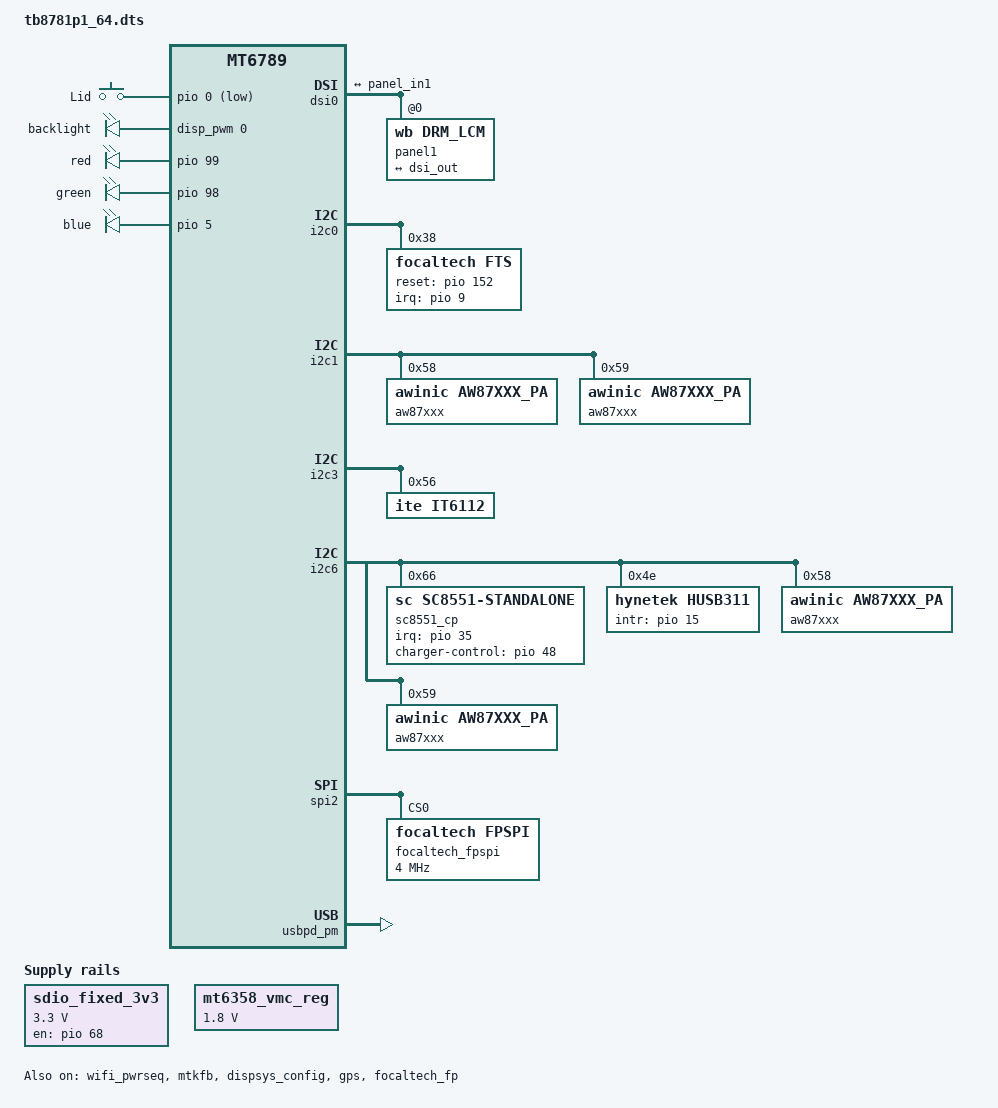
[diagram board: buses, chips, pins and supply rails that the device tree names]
// SPDX-License-Identifier: (GPL-2.0 OR MIT)
/*
 * Copyright (C) 2021 MediaTek Inc.
 */
/dts-v1/;
/plugin/;
#include <dt-bindings/interrupt-controller/arm-gic.h>
#include <dt-bindings/interrupt-controller/irq.h>
#include <dt-bindings/pinctrl/mt6789-pinfunc.h>
#include "mediatek/M101TBR200/cust_mt6789_camera.dtsi"
#include <dt-bindings/gpio/gpio.h>
#include <dt-bindings/input/input.h>
#include <dt-bindings/iio/adc/mediatek,mt6375_adc.h>
#include <dt-bindings/iio/mt635x-auxadc.h>
#include "mediatek/M101TBR200/mt6789_battery_prop.dtsi"
#include <dt-bindings/phy/phy.h>
#include "mediatek/lcd/1_wb_lcd_panel_list.dtsi"

&odm {
	sdio_fixed_3v3: fixedregulator@0 {
		compatible = "regulator-fixed";
		regulator-name = "sdio_fixed_3v3";
		regulator-min-microvolt = <3300000>;
		regulator-max-microvolt = <3300000>;
		enable-active-high;
		gpio = <&pio 68 0>;
	};
};

&chosen {
};

&android {
	hardware = "mt8781";
};

&mtk_leds {
	compatible = "mediatek,pwm-leds";

	backlight {
		led_mode = <5>;
		gate_enable = <1>;
        	pwms = <&disp_pwm 0 39385>;
		pwm_config = <0 1 0 0 0>;
	};
};

&wifi_pwrseq {
	status = "okay";
	pinctrl-names = "default";
	pinctrl-0 = <&wifi_pins_pwrseq>;
	reset-gpios = <&pio 43 1>;			//reset pin GPIO number need modify
	post-power-on-delay-ms = <200>;
};

&mmc1 {
    status = "disabled";
	compatible = "mediatek,mt6779-mmc";
	pinctrl-names = "default", "state_uhs", "state_eint", "state_dat1";
    pinctrl-0 = <&mmc1_pins_default>;
    pinctrl-1 = <&mmc1_pins_uhs>;
    pinctrl-2 = <&mmc1_pins_eint>;
    pinctrl-3 = <&mmc1_pins_dat1>;
    eint-gpios = <&pio 74 0>;
    bus-width = <4>;
    max-frequency = <200000000>;
    cap-sd-highspeed;
    //sd-uhs-sdr50;
    //sd-uhs-sdr104;
    cap-sdio-irq;
    cap-sdio-async-int;
    no-sd;
    keep-power-in-suspend;
    enable-sdio-wakeup;
    non-removable;
    vmmc-supply = <&sdio_fixed_3v3>;
    vqmmc-supply = <&mt6358_vmc_reg>;
    mmc-pwrseq = <&wifi_pwrseq>;
	dvfsrc-vcore-supply = <&dvfsrc_vcore>;
	max-vcore-volt = <725000>;
};

&mt6358_vmc_reg {
	regulator-min-microvolt = <1800000>;
	regulator-max-microvolt = <1800000>;
	regulator-always-on;
};

&pio {
	mtkfb_pins_lcd_bias_enp1: lcd_bias_enp1_gpio {
		pins_cmd_dat {
			pinmux = <PINMUX_GPIO36__FUNC_GPIO36>;
			slew-rate = <1>;
			output-high;
		};
	};

	mtkfb_pins_lcd_bias_enp0: lcd_bias_enp0_gpio {
		pins_cmd_dat {
			pinmux = <PINMUX_GPIO36__FUNC_GPIO36>;
			slew-rate = <1>;
			output-low;
		};
	};

	mtkfb_pins_lcd_bias_enn1: lcd_bias_enn1_gpio {
		pins_cmd_dat {
			pinmux = <PINMUX_GPIO46__FUNC_GPIO46>;
			slew-rate = <1>;
			output-high;
		};
	};

	mtkfb_pins_lcd_bias_enn0: lcd_bias_enn0_gpio {
		pins_cmd_dat {
			pinmux = <PINMUX_GPIO46__FUNC_GPIO46>;
			slew-rate = <1>;
			output-low;
		};
	};

	mtkfb_pins_lcm_led_en1: lcm_led_en1_gpio {
		pins_cmd_dat {
			pinmux = <PINMUX_GPIO95__FUNC_GPIO95>;
			slew-rate = <1>;
			output-high;
		};
	};

	mtkfb_pins_lcm_led_en0: lcm_led_en0_gpio {
		pins_cmd_dat {
			pinmux = <PINMUX_GPIO95__FUNC_GPIO95>;
			slew-rate = <1>;
			output-low;
		};
	};

	mtkfb_pins_lcm_rst_out1_gpio: lcm_rst_out1_gpio {
		pins_cmd_dat {
			pinmux = <PINMUX_GPIO85__FUNC_GPIO85>;
			slew-rate = <1>;
			output-high;
		};
	};

	mtkfb_pins_lcm_rst_out0_gpio: lcm_rst_out0_gpio {
		pins_cmd_dat {
			pinmux = <PINMUX_GPIO85__FUNC_GPIO85>;
			slew-rate = <1>;
			output-low;
		};
	};
	mtkfb_pins_lcm_dsi_te: lcm_dsi_te {
		pins_cmd_dat {
			pinmux = <PINMUX_GPIO83__FUNC_DSI_TE>;
		};
	};
	mtkfb_pins_lcd_pwr_1v8_en: lcd_pwr_1v8_en_gpio {
		pins_cmd_dat {
			pinmux = <PINMUX_GPIO52__FUNC_GPIO52>;
		};
	};
	mtkfb_pins_lcd_pwr_3v3_en: lcd_pwr_3v3_en_gpio {
		/*pins_cmd_dat {
			pinmux = <PINMUX_GPIO51__FUNC_GPIO51>;
		};*/
	};    

	mtkfb_pins_tp_rst_gpio: tp_rst_gpio {
		pins_cmd_dat {
			pinmux = <PINMUX_GPIO152__FUNC_GPIO152>;
		};
	};    
};

&mtkfb {
	pinctrl-names = "lcd_bias_enp1_gpio", "lcd_bias_enp0_gpio",
		"lcd_bias_enn1_gpio", "lcd_bias_enn0_gpio",
        	"lcm_led_en1_gpio", "lcm_led_en0_gpio",
		"lcm_rst_out1_gpio", "lcm_rst_out0_gpio",
		"mode_te_te","lcd_pwr_1v8_en_gpio","lcd_pwr_3v3_en_gpio",
        	"tp_rst_gpio";
	pinctrl-0 = <&mtkfb_pins_lcd_bias_enp1>;
	pinctrl-1 = <&mtkfb_pins_lcd_bias_enp0>;
	pinctrl-2 = <&mtkfb_pins_lcd_bias_enn1>;
	pinctrl-3 = <&mtkfb_pins_lcd_bias_enn0>;        
	pinctrl-4 = <&mtkfb_pins_lcm_led_en1>;
	pinctrl-5 = <&mtkfb_pins_lcm_led_en0>;
	pinctrl-6 = <&mtkfb_pins_lcm_rst_out1_gpio>;
	pinctrl-7 = <&mtkfb_pins_lcm_rst_out0_gpio>;
	pinctrl-8 = <&mtkfb_pins_lcm_dsi_te>;
	pinctrl-9 = <&mtkfb_pins_lcd_pwr_1v8_en>;
	pinctrl-10 = <&mtkfb_pins_lcd_pwr_3v3_en>;
	pinctrl-11 = <&mtkfb_pins_tp_rst_gpio>;
	status = "okay";
};

&dispsys_config {
	pinctrl-names =
		"lcm_rst_out1_gpio", "lcm_rst_out0_gpio",
		"mode_te_te";
	pinctrl-0 = <&mtkfb_pins_lcm_rst_out1_gpio>;
	pinctrl-1 = <&mtkfb_pins_lcm_rst_out0_gpio>;
	pinctrl-2 = <&mtkfb_pins_lcm_dsi_te>;
	status = "okay";
};

&dsi0 {
	status = "okay";
	#address-cells = <1>;
	#size-cells = <0>;
	panel1@0 {
		compatible = "wb,drm_lcm";
		reg = <0>;
		pinctrl-names = "default";
		//rotation = <90>;
		port {
			panel_in1: endpoint {
				remote-endpoint = <&dsi_out>;
			};
		};
	};
	
	ports {
		port {
			dsi_out: endpoint {
				remote-endpoint = <&panel_in1>;
			};
		};
	};
};

&odm {
	gpio_keys: gpio-keys{
		compatible = "gpio-keys";

		lid {
			label = "Lid";
			gpios = <&pio 0 GPIO_ACTIVE_LOW>;
			linux,code = <SW_LID>;
			linux,input-type = <EV_SW>;
			gpio-key,wakeup;
		};
	};
};

/* GPS GPIO standardization start */
&pio {
	gps_pins_default: gps_default {
	};
	gps_l1_lna_pins_ol: gps_l1_lna@0 {
		pins_cmd_dat {
			pinmux = <PINMUX_GPIO25__FUNC_GPIO25>;
			output-low;
		};
	};
	gps_l1_lna_pins_dsp_ctrl: gps_l1_lna@1 {
		pins_cmd_dat {
			pinmux = <PINMUX_GPIO25__FUNC_GPS_L1_ELNA_EN>;
		};
	};
	gps_l1_lna_pins_oh: gps_l1_lna@2 {
		pins_cmd_dat {
			pinmux = <PINMUX_GPIO25__FUNC_GPIO25>;
			output-high;
		};
	};
	gps_l5_lna_pins_ol: gps_l5_lna@0 {
		pins_cmd_dat {
			pinmux = <PINMUX_GPIO26__FUNC_GPIO26>;
			output-low;
		};
	};
	gps_l5_lna_pins_dsp_ctrl: gps_l5_lna@1 {
		pins_cmd_dat {
			pinmux = <PINMUX_GPIO26__FUNC_GPS_L5_ELNA_EN>;
		};
	};
	gps_l5_lna_pins_oh: gps_l5_lna@2 {
		pins_cmd_dat {
			pinmux = <PINMUX_GPIO26__FUNC_GPIO26>;
			output-high;
		};
	};

	mmc1_pins_default: mmc1default {
		pins_cmd_dat {
			pinmux = <PINMUX_GPIO72__FUNC_MSDC1_CMD>,
				<PINMUX_GPIO73__FUNC_MSDC1_DAT0>,
				<PINMUX_GPIO74__FUNC_MSDC1_DAT1>,
				<PINMUX_GPIO75__FUNC_MSDC1_DAT2>,
				<PINMUX_GPIO76__FUNC_MSDC1_DAT3>;
			drive-strength = <MTK_DRIVE_6mA>;
			input-enable;
			bias-pull-up = <MTK_PUPD_SET_R1R0_01>;
		};
		pins_clk {
			pinmux = <PINMUX_GPIO71__FUNC_MSDC1_CLK>;
			drive-strength = <MTK_DRIVE_6mA>;
			bias-pull-down = <MTK_PUPD_SET_R1R0_10>;
			input-enable;
		};
	};
	mmc1_pins_uhs: mmc1 {
		pins_cmd_dat {
			pinmux = <PINMUX_GPIO72__FUNC_MSDC1_CMD>,
				<PINMUX_GPIO73__FUNC_MSDC1_DAT0>,
				<PINMUX_GPIO74__FUNC_MSDC1_DAT1>,
				<PINMUX_GPIO75__FUNC_MSDC1_DAT2>,
				<PINMUX_GPIO76__FUNC_MSDC1_DAT3>;
			drive-strength = <MTK_DRIVE_6mA>;
			input-enable;
			bias-pull-up = <MTK_PUPD_SET_R1R0_01>;
		};

		pins_clk {
			pinmux = <PINMUX_GPIO71__FUNC_MSDC1_CLK>;
			drive-strength = <MTK_DRIVE_6mA>;
			bias-pull-down = <MTK_PUPD_SET_R1R0_10>;
			input-enable;
		};
	};

	mmc1_pins_eint: mmc1eint {
		pins_dat1 {
			pinmux = <PINMUX_GPIO74__FUNC_GPIO74>;
			input-enable;
			bias-pull-up = <MTK_PUPD_SET_R1R0_01>;
		};
	};

	mmc1_pins_dat1: mmc1dat1 {
		pins_dat1 {
			pinmux = <PINMUX_GPIO74__FUNC_MSDC1_DAT1>;
			drive-strength = <MTK_DRIVE_6mA>;
			bias-pull-up = <MTK_PUPD_SET_R1R0_01>;
		};
	};

	wifi_pins_pwrseq: wifipwrseq {
		pins_wifi_enable {
			pinmux = <PINMUX_GPIO43__FUNC_GPIO43>;
			drive-strength = <MTK_DRIVE_6mA>;
			output-low;
		};
	};
};

&extcon_usb {
	pinctrl-names = "default";
	pinctrl-0 = <&docking_eint_default>;
	docking_eint_gpio = <&pio 10 0x0>;
	interrupt-parent = <&pio>;
	interrupts = <10 IRQ_TYPE_LEVEL_LOW 10 0>;
};

&pio {
	docking_eint_default: docking_eint_default {
		pins_cmd_dat {
			pinmux = <PINMUX_GPIO10__FUNC_GPIO10>;
			slew-rate = <0>;
			bias-pull-up;
		};
	};
};

&cust_gpios {
	compatible = "cust,cust_gpios";
	gpio_it6112_en = <&pio 37 0>;
	gpio_bias_pos = <&pio 36 0>;//38
	gpio_bias_neg = <&pio 46 0>;//39
	gpio_bias_en = <&pio 95 0>;
	gpio_lcm_1v8 = <&pio 52 0>;
	/*gpio_lcm_3v3 = <&pio 51 0>;*/
	gpio_lcm_rst = <&pio 85 0>;

	/*gpio_typec_otg_en   = <&pio 40 0>;*/
	//gpio_otg_5v_en      = <&pio 36 0>;
	//gpio_docking_en     = <&pio 34 0>;
	//gpio_usb_switch     = <&pio 41 0>;
	status = "okay";
};

&gps {
	pinctrl-names = "default",
		"gps_l1_lna_disable",
		"gps_l1_lna_dsp_ctrl",
		"gps_l1_lna_enable",
		"gps_l5_lna_disable",
		"gps_l5_lna_dsp_ctrl",
		"gps_l5_lna_enable";
	pinctrl-0 = <&gps_pins_default>;
	pinctrl-1 = <&gps_l1_lna_pins_ol>;
	pinctrl-2 = <&gps_l1_lna_pins_dsp_ctrl>;
	pinctrl-3 = <&gps_l1_lna_pins_oh>;
	pinctrl-4 = <&gps_l5_lna_pins_ol>;
	pinctrl-5 = <&gps_l5_lna_pins_dsp_ctrl>;
	pinctrl-6 = <&gps_l5_lna_pins_oh>;
	status = "okay";
};
/* GPS GPIO standardization end */

#include "mediatek/gt9xx_dts.dtsi"
/*Microtrust(TEEI) utos real driver */
&utos {
microtrust,real-drv = <1>;
};
/*svp start*/
&mtee_svp {
	mtee: MTEE {
		compatible = "mediatek,mtk_svp_on_mtee_support";
	};

	svp: SecureVideoPath {
		compatible = "mediatek,mtk_sec_video_path_support";
	};
};
/*svp end*/
//#include "mediatek/cust_mt6789_touch_1080x2400.dtsi"
//#include "mediatek/cust_mt6789_camera_v4l2.dtsi"

&i2c0 {
        focaltech@38{ 
            compatible = "focaltech,fts";	
            reg = <0x38>;  					
            interrupt-parent = <&pio>;			
            interrupts = <9 IRQ_TYPE_EDGE_FALLING 9 0>;
            focaltech,reset-gpio = <&pio 152 0>; 
            focaltech,irq-gpio = <&pio 9 IRQ_TYPE_EDGE_FALLING>; 	
            focaltech,max-touch-number = <10>;			
            focaltech,display-coords =  <0 0 1200 2000>;	 
		};    
};

&i2c1 {
    aw87xxx@58 {
        compatible = "awinic,aw87xxx_pa";
        reg = <0x58>;
        dev_index = <0>;
        status = "okay";
    }; 
    aw87xxx@59 {
        compatible = "awinic,aw87xxx_pa";
        reg = <0x59>;
        dev_index = <3>;
        status = "okay";
    };
};


&i2c3 {
	it6112@56 {
		compatible = "ite,it6112";
		reg = <0x56>;                      
		status = "okay";
	};
};
    
&i2c6 {
	//rt9465@4b {
	//        compatible = "richtek,rt9465";
	//        reg = <0x4b>;
	//        status = "okay";
	//        rt,en_gpio_num = <48>;
	//        rt,en_gpio = <&pio 48 0x0>;
	//        mt6306_en_pin = <1>;
	//        rt,intr_gpio_num = <12>; /* direct defined GPIO num */
	//        rt,intr_gpio = <&pio 12 0x0>;
	//        interrupt-names = "wdtmri";
	//        charger_name = "secondary_chg";
	//        ichg = <1500000>; /* uA */
	//        mivr = <4500000>; /* uV */
	//        cv = <4350000>; /* uV */
	//        ieoc = <700000>; /* uA */
	//        safety_timer = <12>; /* hour */
	//        en_st; /* safety timer */
	//        /* en_te; */
	//        en_wdt;
	//};

       sc8551_cp:sc8551-charger@66{
                compatible = "sc,sc8551-standalone";
                reg = <0x66>;
                //chg_name = "secondary_chg";
                sc,sc8551,irq-gpio = <&pio 35 0>;
                sc,sc8551,bat-ovp-threshold = <4750>;
                sc,sc8551,bat-ocp-threshold = <8000>;
                sc,sc8551,bus-ovp-threshold = <12000>;
                sc,sc8551,bus-ocp-threshold = <3750>;
                sc,sc8551,ac-ovp-threshold = <12000>;
                sc,sc8551,sense-resistor-mohm = <5>;
                charger-control-gpios = <&pio 48 0>;
                status = "okay";
       };


	husb311:husb311@4e {
		compatible = "hynetek,husb311";
		reg = <0x4e>;
		status = "okay";
		/*interrupt-parent = <&pio>;*/
		tcpc,name = "type_c_port0"; /* tcpc_device's name */
		tcpc,role_def = <5>; /* 0: SNK Only, 1: SRC Only, 2: DRP, */
					/* 3: Try.SRC, 4: Try.SNK */
		tcpc-dual,supported_modes = <0>; /* 0: dfp/ufp, */
						 /* 1: dfp, 2: ufp */
		
		tcpc,rp_level = <0>; /* 0: Default, 1: 1.5, 2: 3.0 */
		tcpc,vconn_supply  = <1>;  /* 0: Never, 1: Always, */
					      /* 2: EMarkOnly, 3: StartOnly */

		tcpc,notifier_supply_num = <3>;

		husb311pd,intr_gpio = <&pio 15 0x0>;
		/*husb311pd,intr_gpio_num = <8>;*/
		gpio-controller;
		//#gpio-cells = <2>;
		pd-data {
			pd,vid = <0x2e99>;
			pd,pid = <0x0311>;
			pd,source-cap-ext = <0x171129cf 0x00000000 0x00000000
					     0x00000000 0x00000000 0x02000000>;
			pd,mfrs = "HynetekTCPC";

			/*
			 *	VSAFE5V = 0, MAX_POWER = 1, CUSTOM = 2,
			 *	MAX_POWER_LV = 0x21, MAX_POWER_LVIC = 0x31
			 *	MAX_POWER_HV = 0x41, MAX_POWER_HVIC = 0x51
			 */
			pd,charging_policy= <0x31>;

			/*
			 * Fixed 5V, 500 mA <0x00019032>
			 * Fixed 5V, 1A <0x00019064>
			 * Fixed 5V, 2A <0x000190c8>
			 * Fixed 5V, 3A <0x0001912c>
			 * Fixed 9V, 500 mA <0x0002d032>
			 * Fixed 9V, 1A <0x0002d064>
			 * Fixed 9V, 2A <0x0002d0c8>
			 * Fixed 9V, 3A <0x0002d12c>
			 * Variable 5-9V, 1A <0x8642d064>
			 * Variable 5-9V, 2A <0x8642d0c8>
			 * Variable 5-9V, 3A <0x8642d12c>
			 * PPS 3V~5.9V, 3A <0xC0761E3C>
			 */
			pd,source-pdo-size = <1>;
			pd,source-pdo-data = <0x00019032>;
			pd,sink-pdo-size = <2>;
			pd,sink-pdo-data = <0x000190c8 0x0002d0c8>;

			/*
			 * No DP, host + device
			 *	pd,id-vdo-size = <3>;
			 *	pd,id-vdo-data = <0xd10029cf 0x0 0x17110000>;
			 * With DP
			 *	pd,id-vdo-size = <3>;
			 *	pd,id-vdo-data = <0xd60029cf 0x0 0x17110000
			 */

			pd,id-vdo-size = <3>;
			pd,id-vdo-data = <0xd10029cf 0x0 0x17110000>;

			bat,nr = <1>;
			pd,country_nr = <0>;

			bat-info0 {
				bat,vid = <0x29cf>;
				bat,pid = <0x1711>;
				bat,mfrs = "bat1";
				bat,design_cap = <3000>;
			};

			//bat-info1 {
			//	bat,vid = <0x8abc>;
			//	bat,pid = <0x5234>;
			//	bat,mfrs = "bat2";
			//	bat,design_cap = <4000>;
			//};

			//country0 {
			//	pd,country_code = <0x5457>;
			//	pd,country_len = <2>; /* max len = 26 */
			//	pd,country_data = <0xff 0xff>;
			//};

			//country1 {
			//	pd,country_code = <0x5553>;
			//	pd,country_len = <3>; /* max len = 26 */
			//	pd,country_data = <0xf1 0xf2 0xf3>;
			//};
		};
		dpm_caps {
			local_dr_power;
			local_dr_data;
			//local_ext_power;
			local_usb_comm;
			//local_usb_suspend;
			//local_high_cap;
			//local_give_back;
			local_no_suspend;
			local_vconn_supply;

			//attemp_discover_cable_dfp;
			attemp_enter_dp_mode;
			attemp_discover_cable;
			attemp_discover_id;

			/* 0: disable, 1: prefer_snk, 2: prefer_src */
			pr_check = <0>;
			//pr_reject_as_source;
			//pr_reject_as_sink;
			//pr_check_gp_source;
			//pr_check_gp_sink;

			/* 0: disable, 1: prefer_ufp, 2: prefer_dfp */
			dr_check = <0>;
			//dr_reject_as_dfp;
			//dr_reject_as_ufp;
		};
		displayport {
			/* connection type = "both", "ufp_d", "dfp_d" */
			1st_connection = "dfp_d";
			2nd_connection = "dfp_d";
			signal,dp_v13;
			//signal,dp_gen2;
			usbr20_not_used;
			typec,receptacle;
			ufp_d {
				//pin_assignment,mode_a;
				//pin_assignment,mode_b;
				//pin_assignment,mode_c;
				//pin_assignment,mode_d;
				//pin_assignment,mode_e;
			};
			dfp_d {
				/* Only support mode C & D */
				//pin_assignment,mode_a;
				//pin_assignment,mode_b;
				pin_assignment,mode_c;
				pin_assignment,mode_d;
				pin_assignment,mode_e;
				pin_assignment,mode_f;
			};
		};
	};


   aw87xxx@58 {
        compatible = "awinic,aw87xxx_pa";
        reg = <0x58>;
        dev_index = <1>;
        status = "okay";
    }; 
    aw87xxx@59 {
        compatible = "awinic,aw87xxx_pa";
        reg = <0x59>;
        dev_index = <2>;
        status = "okay";
    };

};

&leds{
	red {
		label = "red";
		gpios = <&pio 99 0x0>;
		default-state = "off";
	};

	green {
		label = "green";
		gpios = <&pio 98 0x0>;
		default-state = "off";
	};

	blue {
		label = "blue";
		gpios = <&pio 5 0x0>;
		default-state = "off";
	};
};

&lk_charger{
	max_charger_voltage = <12000000>;
	ac_charger_current = <3050000>;
	ac_charger_input_current = <3200000>;
	non_std_ac_charger_current = <500000>;
	charging_host_charger_current = <2050000>;
	ta_ac_charger_current = <3000000>;
};

&charger{
	battery_cv = <4500000>;
	charger = <&sc8960x_chg>;
	max_charger_voltage = <12000000>;
	min_charger_voltage = <4800000>;
	charger_configuration= <0>;
	usb_charger_current = <500000>;
	ac_charger_current = <3000000>;
	ac_charger_input_current = <3200000>;
	charging_host_charger_current = <3050000>;
	io-channels = <&pmic_auxadc AUXADC_VCDT>;
	io-channel-names = "pmic_vbus";
};

&sc8960x_chg{
	sc,sc8960x,vac-ovp-threshold = <14200>;
        sc,sc8960x,termination-current = <400>;
	gauge = <&mtk_gauge>;
	cp_charger = <&sc8551_cp>;
	phys = <&u2port0 PHY_TYPE_USB2>;
	phy-names = "usb2-phy";
	usb = <&usb>;
};

&mtk_gauge {
	charger = <&sc8960x_chg>;
	cp_charger = <&sc8551_cp>;
};

&extcon_usb {
	charger = <&sc8960x_chg>;
	id-gpios = <&pio 13 0x0>;
};

&accdet{
	/*1:ACC mode, 2:low cost without in bias, 6:low cost with in bias*/
	accdet-mic-mode = <1>;
	/* eint_level_trigger: 8,LEVEL_LOW(DEF) ;4,LV_HIGH;others,LV_LOW */
	headset-eint-level-pol = <8>;
};

&focaltech_fp{
	status = "okay";
	interrupt-parent = <&pio>;	
	interrupts = <10 IRQ_TYPE_EDGE_FALLING 10 0>;

	focaltech_fp,reset-gpio = <&pio 108 0>;
	focaltech_fp,irq-gpio = <&pio 10 0>;
	focaltech_fp,vdd-gpio = <&pio 102 0>;

	//focaltech_fp,power-always-on;
	//focaltech_fp,use-regulator;
	//ff_vdd-supply = <&mt_pmic_vfp_ldo_reg>;
	 
	focaltech_fp,read-chip;
	//focaltech_fp,use-pinctrl;
	//pinctrl-names = 
	//"ff_pins_reset_low","ff_pins_reset_high","ff_pins_irq_as_int","ff_pins_power_low","ff_pins_powe
	//r_high";
	//pinctrl-0 = <&fp_pins_rst_output0>;
	//pinctrl-1 = <&fp_pins_rst_output1>;
	//pinctrl-2 = <&fp_pins_eint>;
	//pinctrl-3 = <&fp_pins_power_output0>;
	//pinctrl-4 = <&fp_pins_power_output1>;
};

//&pio {
//	fp_pins_rst_output0: fprstout0 {
//		pins_cmd_dat {
//			pinmux = <PINMUX_GPIO47__FUNC_GPIO47>;
//			output-low;
//		};
//	};
//	fp_pins_rst_output1: fprstout1 {
//		pins_cmd_dat {
//			pinmux = <PINMUX_GPIO47__FUNC_GPIO47>;
//			output-high;
//		};
//	};
//    fp_pins_eint: fpeint {
//		pins_cmd_dat {
//			pinmux = <PINMUX_GPIO5__FUNC_GPIO5>;
//			bias-disable;
//			input-enable;
//		};
//	};
//	fp_pins_power_output0: fppwrout0 {
//		pins_cmd_dat {
//			pinmux = <PINMUX_GPIO92__FUNC_GPIO92>;
//			output-low;
//		};
//	};
//	fp_pins_power_output1: fppwrout1 {
//		pins_cmd_dat {
//			pinmux = <PINMUX_GPIO92__FUNC_GPIO92>;
//			output-high;
//		};
//	};
//};

&spi2 {
	status = "okay";
	#address-cells = <1>;
	#size-cells = <0>;
	pinctrl-names = "default";
	pinctrl-0 = <&spi2_pins>;
	focaltech_fpspi@0 {
		compatible = "focaltech,fpspi";
		reg = <0>; //Same as CS ID
		spi-max-frequency = <4000000>;
	};
};

&pio{
	spi2_pins:spi2@1{
		pins_cmd_dat{
			pinmux = <PINMUX_GPIO38__FUNC_SPI2_CLK>,
				<PINMUX_GPIO39__FUNC_SPI2_CSB>,
				<PINMUX_GPIO40__FUNC_SPI2_MO>,
				<PINMUX_GPIO41__FUNC_SPI2_MI>;
			drive-strength = <2>;
		};
	};
};

&usbpd_pm{
	gauge = <&mtk_gauge>;
	batt_max_chg_volt = <4560>;
	batt_fast_chg_curr = <6800>;
        bus_curr_lp_lmt = <3000>;
        ibus_limit_offset = <30>;
	status = "okay";
};

&pe4 {
	status = "disabled";
};

&pe2 {
	status = "disabled";
};

&pe {
	status = "disabled";
};

&pdc {
	status = "disabled";
};

&regulator_vibrator {
	min-volt = <3000000>;
	max-volt = <3000000>;
};

#include <tb8781p1_64/cust.dtsi>
/*End of this file, DO NOT ADD ANYTHING HERE*/
